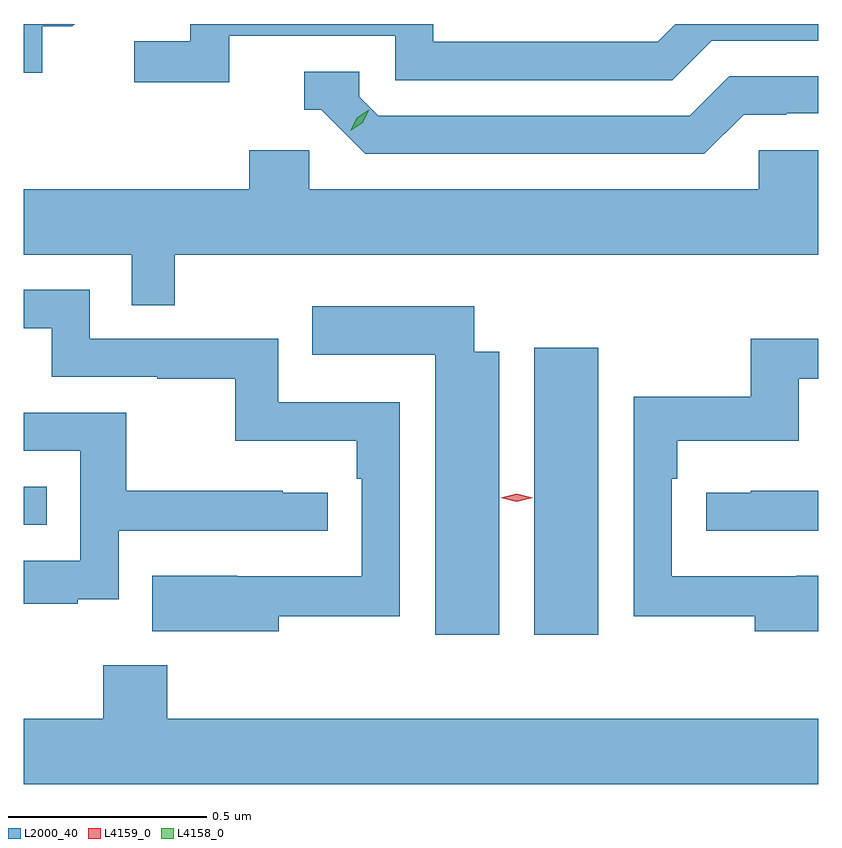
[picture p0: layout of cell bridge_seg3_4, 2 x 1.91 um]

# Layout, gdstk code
import gdstk
lib = gdstk.Library(unit=1e-6, precision=1e-09)
def R(c, l, rs):  # rectangles x0, y0, x1, y1
    for r in rs: c.add(gdstk.rectangle(r[:2], r[2:], *l))
def P(c, l, *ps):  # polygons
    for p in ps: c.add(gdstk.Polygon(p, *l))
L2000_40 = (2000, 40)
L4158_0 = (4158, 0)
L4159_0 = (4159, 0)

bridge_seg3_4 = lib.new_cell('bridge_seg3_4')
R(bridge_seg3_4, L2000_40, [(1119.734,731.928,1119.895,732.649), (1118.449,732.204,1118.507,732.3)])
P(bridge_seg3_4, L2000_40, [(1118.496,733.458),(1118.572,733.458),(1118.578,733.464),(1118.449,733.464),(1118.449,733.341),(1118.496,733.341)],
  [(1118.966,733.434),(1119.384,733.434),(1119.384,733.323),(1120.081,733.323),(1120.18,733.422),(1120.449,733.422),(1120.449,733.464),(1120.089,733.464),(1120.044,733.419),(1119.48,733.419),(1119.48,733.464),(1118.868,733.464),(1118.868,733.42),(1118.727,733.42),(1118.727,733.318),(1118.966,733.318)],
  [(1120.261,733.236),(1120.368,733.236),(1120.368,733.239),(1120.449,733.239),(1120.449,733.332),(1120.224,733.332),(1120.125,733.233),(1119.342,733.233),(1119.294,733.281),(1119.294,733.344),(1119.155,733.344),(1119.155,733.248),(1119.198,733.248),(1119.309,733.137),(1120.162,733.137)],
  [(1118.83,732.884),(1120.449,732.884),(1120.449,733.146),(1120.299,733.146),(1120.299,733.048),(1119.168,733.048),(1119.168,733.146),(1119.017,733.146),(1119.017,733.048),(1118.449,733.048),(1118.449,732.884),(1118.721,732.884),(1118.721,732.757),(1118.83,732.757)],
  [(1119.091,731.974),(1119.396,731.974),(1119.396,732.513),(1119.09,732.513),(1119.09,732.672),(1118.616,732.672),(1118.616,732.795),(1118.449,732.795),(1118.449,732.699),(1118.52,732.699),(1118.52,732.576),(1118.785,732.576),(1118.785,732.571),(1118.982,732.571),(1118.982,732.416),(1119.287,732.416),(1119.287,732.32),(1119.3,732.32),(1119.3,732.075),(1118.987,732.075),(1118.987,732.076),(1118.773,732.076),(1118.773,731.936),(1119.091,731.936)],
  [(1119.646,732.64),(1119.583,732.64),(1119.583,732.754),(1119.175,732.754),(1119.175,732.632),(1119.485,732.632),(1119.485,731.928),(1119.646,731.928)],
  [(1120.449,732.076),(1120.393,732.076),(1120.393,732.075),(1120.08,732.075),(1120.08,732.32),(1120.094,732.32),(1120.094,732.416),(1120.399,732.416),(1120.399,732.571),(1120.449,732.571),(1120.449,732.672),(1120.278,732.672),(1120.278,732.526),(1119.984,732.526),(1119.984,731.974),(1120.289,731.974),(1120.289,731.936),(1120.449,731.936)],
  [(1118.585,732.017),(1118.688,732.017),(1118.688,732.189),(1119.214,732.189),(1119.214,732.285),(1119.101,732.285),(1119.101,732.29),(1118.708,732.29),(1118.708,732.486),(1118.449,732.486),(1118.449,732.39),(1118.592,732.39),(1118.592,732.114),(1118.449,732.114),(1118.449,732.006),(1118.585,732.006)],
  [(1120.449,732.29),(1120.279,732.29),(1120.279,732.285),(1120.167,732.285),(1120.167,732.189),(1120.449,732.189)],
  [(1120.449,731.716),(1118.81,731.716),(1118.81,731.851),(1118.65,731.851),(1118.65,731.716),(1118.449,731.716),(1118.449,731.552),(1120.449,731.552)])
P(bridge_seg3_4, L4158_0, [(1119.271,733.195),(1119.271,733.195),(1119.287,733.228),(1119.318,733.248),(1119.318,733.248),(1119.318,733.247),(1119.302,733.215),(1119.271,733.195)])
P(bridge_seg3_4, L4159_0, [(1119.69,732.262),(1119.65,732.272),(1119.65,732.272),(1119.65,732.272),(1119.69,732.282),(1119.73,732.272),(1119.73,732.272),(1119.73,732.272)])

lib.write_gds('bridge_seg3_4.gds')
